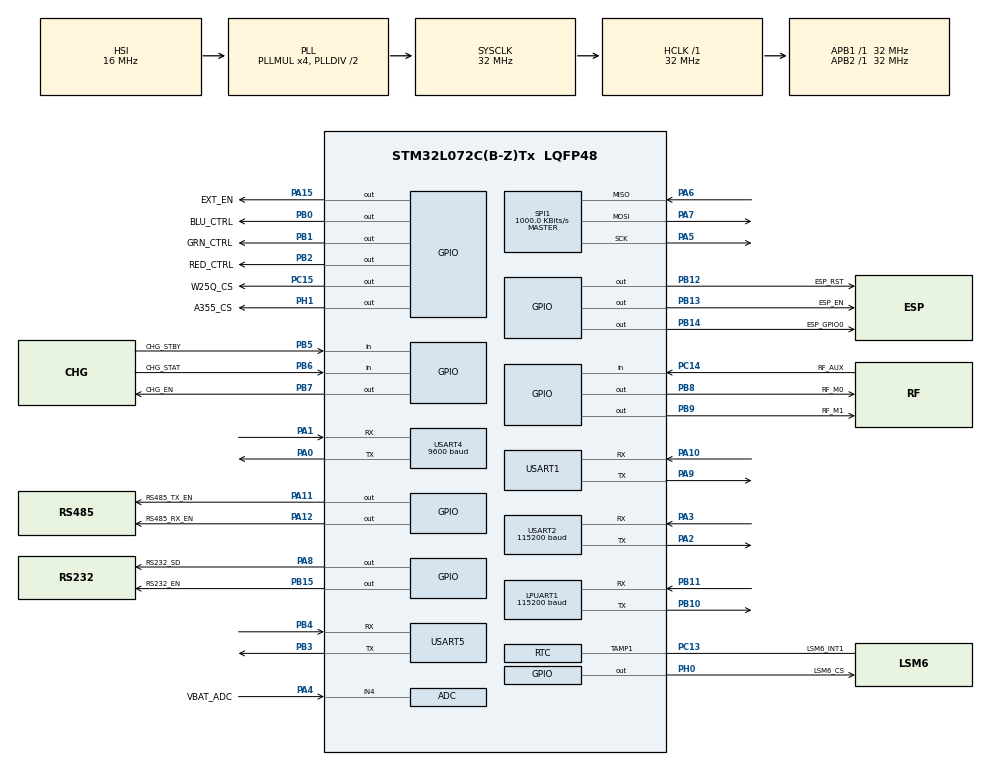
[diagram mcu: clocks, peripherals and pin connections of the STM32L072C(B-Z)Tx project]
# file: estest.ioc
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ADC.SamplingTime=ADC_SAMPLETIME_160CYCLES_5
Dma.LPUART1_RX.1.Direction=DMA_PERIPH_TO_MEMORY
Dma.LPUART1_RX.1.Instance=DMA1_Channel3
Dma.LPUART1_RX.1.MemDataAlignment=DMA_MDATAALIGN_BYTE
Dma.LPUART1_RX.1.MemInc=DMA_MINC_ENABLE
Dma.LPUART1_RX.1.Mode=DMA_NORMAL
Dma.LPUART1_RX.1.PeriphDataAlignment=DMA_PDATAALIGN_BYTE
Dma.LPUART1_RX.1.PeriphInc=DMA_PINC_DISABLE
Dma.LPUART1_RX.1.Priority=DMA_PRIORITY_LOW
Dma.Request0=USART4_RX
Dma.Request1=LPUART1_RX
Dma.Request2=USART2_RX
Dma.Request3=USART5_RX
Dma.USART2_RX.2.Direction=DMA_PERIPH_TO_MEMORY
Dma.USART2_RX.2.Instance=DMA1_Channel5
Dma.USART2_RX.2.MemDataAlignment=DMA_MDATAALIGN_BYTE
Dma.USART2_RX.2.MemInc=DMA_MINC_ENABLE
Dma.USART2_RX.2.Mode=DMA_CIRCULAR
Dma.USART2_RX.2.PeriphDataAlignment=DMA_PDATAALIGN_BYTE
Dma.USART2_RX.2.PeriphInc=DMA_PINC_DISABLE
Dma.USART2_RX.2.Priority=DMA_PRIORITY_LOW
Dma.USART4_RX.0.Direction=DMA_PERIPH_TO_MEMORY
Dma.USART4_RX.0.Instance=DMA1_Channel6
Dma.USART4_RX.0.MemDataAlignment=DMA_MDATAALIGN_BYTE
Dma.USART4_RX.0.MemInc=DMA_MINC_ENABLE
Dma.USART4_RX.0.Mode=DMA_NORMAL
Dma.USART4_RX.0.PeriphDataAlignment=DMA_PDATAALIGN_BYTE
Dma.USART4_RX.0.PeriphInc=DMA_PINC_DISABLE
Dma.USART4_RX.0.Priority=DMA_PRIORITY_LOW
Dma.USART5_RX.3.Direction=DMA_PERIPH_TO_MEMORY
Dma.USART5_RX.3.Instance=DMA1_Channel2
Dma.USART5_RX.3.MemDataAlignment=DMA_MDATAALIGN_BYTE
Dma.USART5_RX.3.MemInc=DMA_MINC_ENABLE
Dma.USART5_RX.3.Mode=DMA_NORMAL
Dma.USART5_RX.3.PeriphDataAlignment=DMA_PDATAALIGN_BYTE
Dma.USART5_RX.3.PeriphInc=DMA_PINC_DISABLE
Dma.USART5_RX.3.Priority=DMA_PRIORITY_LOW
LPUART1.BaudRate=115200
LPUART1.WordLength=UART_WORDLENGTH_8B
Mcu.Family=STM32L0
Mcu.Name=STM32L072C(B-Z)Tx
Mcu.Package=LQFP48
NVIC.DMA1_Channel2_3_IRQn=true\:0\:0\:false\:false\:true\:false\:true\:true
NVIC.DMA1_Channel4_5_6_7_IRQn=true\:0\:0\:false\:false\:true\:false\:true\:true
NVIC.RTC_IRQn=true\:0\:0\:false\:false\:true\:true\:true\:true
NVIC.TIM2_IRQn=true\:0\:0\:false\:false\:true\:true\:true\:true
NVIC.USART2_IRQn=true\:0\:0\:false\:false\:true\:true\:true\:true
NVIC.USART4_5_IRQn=true\:0\:0\:false\:false\:true\:true\:true\:true
PA0.Mode=Asynchronous
PA0.Signal=USART4_TX
PA1.GPIO_PuPd=GPIO_PULLUP
PA1.Mode=Asynchronous
PA1.Signal=USART4_RX
PA10.GPIO_PuPd=GPIO_PULLUP
PA10.Mode=Asynchronous
PA10.Signal=USART1_RX
PA11.GPIO_Label=RS485_TX_EN
PA11.Signal=GPIO_Output
PA12.GPIO_Label=RS485_RX_EN
PA12.GPIO_ModeDefaultOutputPP=GPIO_MODE_OUTPUT_OD
PA12.GPIO_PuPd=GPIO_NOPULL
PA12.PinState=GPIO_PIN_SET
PA12.Signal=GPIO_Output
PA13.Mode=Serial_Wire
PA13.Signal=SYS_SWDIO
PA14.Mode=Serial_Wire
PA14.Signal=SYS_SWCLK
PA15.GPIO_Label=EXT_EN
PA15.GPIO_ModeDefaultOutputPP=GPIO_MODE_OUTPUT_PP
PA15.GPIO_PuPd=GPIO_NOPULL
PA15.PinState=GPIO_PIN_RESET
PA15.Signal=GPIO_Output
PA2.Mode=Asynchronous
PA2.Signal=USART2_TX
PA3.GPIO_PuPd=GPIO_PULLUP
PA3.Mode=Asynchronous
PA3.Signal=USART2_RX
PA4.GPIO_Label=VBAT_ADC
PA4.Mode=IN4
PA4.Signal=ADC_IN4
PA5.Mode=Full_Duplex_Master
PA5.Signal=SPI1_SCK
PA6.Mode=Full_Duplex_Master
PA6.Signal=SPI1_MISO
PA7.Mode=Full_Duplex_Master
PA7.Signal=SPI1_MOSI
PA8.GPIO_Label=RS232_SD
PA8.Signal=GPIO_Output
PA9.Mode=Asynchronous
PA9.Signal=USART1_TX
PB0.GPIO_Label=BLU_CTRL
PB0.GPIO_ModeDefaultOutputPP=GPIO_MODE_OUTPUT_OD
PB0.GPIO_PuPd=GPIO_NOPULL
PB0.PinState=GPIO_PIN_SET
PB0.Signal=GPIO_Output
PB1.GPIO_Label=GRN_CTRL
PB1.GPIO_ModeDefaultOutputPP=GPIO_MODE_OUTPUT_OD
PB1.GPIO_PuPd=GPIO_NOPULL
PB1.PinState=GPIO_PIN_SET
PB1.Signal=GPIO_Output
PB10.Mode=Asynchronous
PB10.Signal=LPUART1_TX
PB11.Mode=Asynchronous
PB11.Signal=LPUART1_RX
PB12.GPIO_Label=ESP_RST
PB12.GPIO_ModeDefaultOutputPP=GPIO_MODE_OUTPUT_OD
PB12.GPIO_PuPd=GPIO_NOPULL
PB12.PinState=GPIO_PIN_SET
PB12.Signal=GPIO_Output
PB13.GPIO_Label=ESP_EN
PB13.Signal=GPIO_Output
PB14.GPIO_Label=ESP_GPIO0
PB14.GPIO_ModeDefaultOutputPP=GPIO_MODE_OUTPUT_OD
PB14.GPIO_PuPd=GPIO_NOPULL
PB14.PinState=GPIO_PIN_SET
PB14.Signal=GPIO_Output
PB15.GPIO_Label=RS232_EN
PB15.GPIO_ModeDefaultOutputPP=GPIO_MODE_OUTPUT_OD
PB15.GPIO_PuPd=GPIO_NOPULL
PB15.PinState=GPIO_PIN_SET
PB15.Signal=GPIO_Output
PB2.GPIO_Label=RED_CTRL
PB2.GPIO_ModeDefaultOutputPP=GPIO_MODE_OUTPUT_OD
PB2.GPIO_PuPd=GPIO_NOPULL
PB2.PinState=GPIO_PIN_SET
PB2.Signal=GPIO_Output
PB3.Mode=Asynchronous
PB3.Signal=USART5_TX
PB4.GPIO_PuPd=GPIO_PULLUP
PB4.Mode=Asynchronous
PB4.Signal=USART5_RX
PB5.GPIO_Label=CHG_STBY
PB5.Signal=GPIO_Input
PB6.GPIO_Label=CHG_STAT
PB6.Signal=GPIO_Input
PB7.GPIO_Label=CHG_EN
PB7.GPIO_ModeDefaultOutputPP=GPIO_MODE_OUTPUT_OD
PB7.GPIO_PuPd=GPIO_NOPULL
PB7.PinState=GPIO_PIN_SET
PB7.Signal=GPIO_Output
PB8.GPIO_Label=RF_M0
PB8.PinState=GPIO_PIN_SET
PB8.Signal=GPIO_Output
PB9.GPIO_Label=RF_M1
PB9.PinState=GPIO_PIN_SET
PB9.Signal=GPIO_Output
PC13.GPIO_Label=LSM6_INT1
PC13.Mode=Tamper 1 enabled
PC13.Signal=RTC_TAMP1
PC14-OSC32_IN.GPIO_Label=RF_AUX
PC14-OSC32_IN.Signal=GPIO_Input
PC15-OSC32_OUT.GPIO_Label=W25Q_CS
PC15-OSC32_OUT.GPIO_ModeDefaultOutputPP=GPIO_MODE_OUTPUT_OD
PC15-OSC32_OUT.GPIO_PuPd=GPIO_NOPULL
PC15-OSC32_OUT.PinState=GPIO_PIN_SET
PC15-OSC32_OUT.Signal=GPIO_Output
PH0-OSC_IN.GPIO_Label=LSM6_CS
PH0-OSC_IN.GPIO_ModeDefaultOutputPP=GPIO_MODE_OUTPUT_OD
PH0-OSC_IN.GPIO_PuPd=GPIO_NOPULL
PH0-OSC_IN.PinState=GPIO_PIN_SET
PH0-OSC_IN.Signal=GPIO_Output
PH1-OSC_OUT.GPIO_Label=A355_CS
PH1-OSC_OUT.GPIO_ModeDefaultOutputPP=GPIO_MODE_OUTPUT_OD
PH1-OSC_OUT.GPIO_PuPd=GPIO_NOPULL
PH1-OSC_OUT.PinState=GPIO_PIN_SET
PH1-OSC_OUT.Signal=GPIO_Output
ProjectManager.HeapSize=0x200
ProjectManager.StackSize=0x400
ProjectManager.TargetToolchain=STM32CubeIDE
RCC.AHBFreq_Value=32000000
RCC.APB1Freq_Value=32000000
RCC.APB1TimFreq_Value=32000000
RCC.APB2Freq_Value=32000000
RCC.APB2TimFreq_Value=32000000
RCC.HCLKFreq_Value=32000000
RCC.HSE_VALUE=8000000
RCC.HSI16_VALUE=16000000
RCC.HSI48_VALUE=48000000
RCC.HSI_VALUE=16000000
RCC.LSE_VALUE=32768
RCC.MSI_VALUE=2097000
RCC.PLLMUL=RCC_PLLMUL_4
RCC.SYSCLKFreq_VALUE=32000000
RCC.SYSCLKSource=RCC_SYSCLKSOURCE_PLLCLK
RCC.VCOOutputFreq_Value=64000000
RTC.WakeUpCounter-WakeUp=23
SPI1.BaudRatePrescaler=SPI_BAUDRATEPRESCALER_32
SPI1.CalculateBaudRate=1000.0 KBits/s
SPI1.Direction=SPI_DIRECTION_2LINES
SPI1.Mode=SPI_MODE_MASTER
SPI1.VirtualType=VM_MASTER
TIM2.Prescaler=32000-1
TIM2.TIM_MasterOutputTrigger=TIM_TRGO_UPDATE
USART1.VirtualMode-Asynchronous=VM_ASYNC
USART2.BaudRate=115200
USART2.VirtualMode-Asynchronous=VM_ASYNC
USART4.BaudRate=9600
USART4.Parity=PARITY_NONE
USART4.VirtualMode-Asynchronous=VM_ASYNC
USART5.VirtualMode-Asynchronous=VM_ASYNC
VP_RTC_VS_RTC_Activate.Mode=RTC_Enabled
VP_RTC_VS_RTC_WakeUp_intern.Mode=WakeUp
VP_TIM2_VS_ClockSourceINT.Mode=Internal
board=custom

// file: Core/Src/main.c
/* USER CODE BEGIN Header */
/**
  ******************************************************************************
  * @file           : main.c
  * @brief          : Main program body
  ******************************************************************************
  * @attention
  *
  * Copyright (c) 2024 STMicroelectronics.
  * All rights reserved.
  *
  * This software is licensed under terms that can be found in the LICENSE file
  * in the root directory of this software component.
  * If no LICENSE file comes with this software, it is provided AS-IS.
  *
  ******************************************************************************
  */
/* USER CODE END Header */
#include "main.h"

/* USER CODE BEGIN Includes */
#include "string.h"
/* USER CODE END Includes */

ADC_HandleTypeDef hadc;

UART_HandleTypeDef hlpuart1;
UART_HandleTypeDef huart1;
UART_HandleTypeDef huart2;
UART_HandleTypeDef huart4;
UART_HandleTypeDef huart5;
DMA_HandleTypeDef hdma_lpuart1_rx;
DMA_HandleTypeDef hdma_usart2_rx;
DMA_HandleTypeDef hdma_usart4_rx;
DMA_HandleTypeDef hdma_usart5_rx;

RTC_HandleTypeDef hrtc;

SPI_HandleTypeDef hspi1;

TIM_HandleTypeDef htim2;

/* USER CODE BEGIN PV */
uint8_t EspBuff[128];
uint8_t PcBuff[128];
uint8_t EspSize = 0;
uint8_t PcSize = 0;
/* USER CODE END PV */

void SystemClock_Config(void);
static void MX_GPIO_Init(void);
static void MX_DMA_Init(void);
static void MX_LPUART1_UART_Init(void);
static void MX_USART1_UART_Init(void);
static void MX_USART2_UART_Init(void);
static void MX_USART4_UART_Init(void);
static void MX_USART5_UART_Init(void);
static void MX_RTC_Init(void);
static void MX_SPI1_Init(void);
static void MX_ADC_Init(void);
static void MX_TIM2_Init(void);

int main(void)
{

  /* MCU Configuration--------------------------------------------------------*/

  /* Reset of all peripherals, Initializes the Flash interface and the Systick. */
  HAL_Init();

  /* Configure the system clock */
  SystemClock_Config();

  /* Initialize all configured peripherals */
  MX_GPIO_Init();
  MX_DMA_Init();
  MX_LPUART1_UART_Init();
  MX_USART1_UART_Init();
  MX_USART2_UART_Init();
  MX_USART4_UART_Init();
  MX_USART5_UART_Init();
  MX_RTC_Init();
  MX_SPI1_Init();
  MX_ADC_Init();
  MX_TIM2_Init();
  /* USER CODE BEGIN 2 */
  HAL_GPIO_WritePin(ESP_EN_GPIO_Port, ESP_EN_Pin, GPIO_PIN_SET);
  HAL_GPIO_WritePin(ESP_RST_GPIO_Port, ESP_RST_Pin, GPIO_PIN_SET);

  HAL_Delay(2000);

  HAL_UARTEx_ReceiveToIdle_DMA(&huart5, PcBuff, sizeof(PcBuff));
  __HAL_DMA_DISABLE_IT(&hdma_usart5_rx, DMA_IT_HT);

  HAL_UARTEx_ReceiveToIdle_DMA(&huart2, EspBuff, sizeof(EspBuff));
  __HAL_DMA_DISABLE_IT(&hdma_usart2_rx, DMA_IT_HT);

  /* USER CODE END 2 */

  /* Infinite loop */
  while (1)
  {

  }
}

void SystemClock_Config(void)
{
  RCC_OscInitTypeDef RCC_OscInitStruct = {0};
  RCC_ClkInitTypeDef RCC_ClkInitStruct = {0};
  RCC_PeriphCLKInitTypeDef PeriphClkInit = {0};

  /** Configure the main internal regulator output voltage
  */
  __HAL_PWR_VOLTAGESCALING_CONFIG(PWR_REGULATOR_VOLTAGE_SCALE1);

  /** Initializes the RCC Oscillators according to the specified parameters
  * in the RCC_OscInitTypeDef structure.
  */
  RCC_OscInitStruct.OscillatorType = RCC_OSCILLATORTYPE_HSI|RCC_OSCILLATORTYPE_LSI;
  RCC_OscInitStruct.HSIState = RCC_HSI_ON;
  RCC_OscInitStruct.HSICalibrationValue = RCC_HSICALIBRATION_DEFAULT;
  RCC_OscInitStruct.LSIState = RCC_LSI_ON;
  RCC_OscInitStruct.PLL.PLLState = RCC_PLL_ON;
  RCC_OscInitStruct.PLL.PLLSource = RCC_PLLSOURCE_HSI;
  RCC_OscInitStruct.PLL.PLLMUL = RCC_PLLMUL_4;
  RCC_OscInitStruct.PLL.PLLDIV = RCC_PLLDIV_2;
  if (HAL_RCC_OscConfig(&RCC_OscInitStruct) != HAL_OK)
  {
    Error_Handler();
  }

  /** Initializes the CPU, AHB and APB buses clocks
  */
  RCC_ClkInitStruct.ClockType = RCC_CLOCKTYPE_HCLK|RCC_CLOCKTYPE_SYSCLK
                              |RCC_CLOCKTYPE_PCLK1|RCC_CLOCKTYPE_PCLK2;
  RCC_ClkInitStruct.SYSCLKSource = RCC_SYSCLKSOURCE_PLLCLK;
  RCC_ClkInitStruct.AHBCLKDivider = RCC_SYSCLK_DIV1;
  RCC_ClkInitStruct.APB1CLKDivider = RCC_HCLK_DIV1;
  RCC_ClkInitStruct.APB2CLKDivider = RCC_HCLK_DIV1;

  if (HAL_RCC_ClockConfig(&RCC_ClkInitStruct, FLASH_LATENCY_1) != HAL_OK)
  {
    Error_Handler();
  }
  PeriphClkInit.PeriphClockSelection = RCC_PERIPHCLK_USART1|RCC_PERIPHCLK_USART2
                              |RCC_PERIPHCLK_LPUART1|RCC_PERIPHCLK_RTC;
  PeriphClkInit.Usart1ClockSelection = RCC_USART1CLKSOURCE_PCLK2;
  PeriphClkInit.Usart2ClockSelection = RCC_USART2CLKSOURCE_PCLK1;
  PeriphClkInit.Lpuart1ClockSelection = RCC_LPUART1CLKSOURCE_PCLK1;
  PeriphClkInit.RTCClockSelection = RCC_RTCCLKSOURCE_LSI;
  if (HAL_RCCEx_PeriphCLKConfig(&PeriphClkInit) != HAL_OK)
  {
    Error_Handler();
  }
}

static void MX_ADC_Init(void)
{

  ADC_ChannelConfTypeDef sConfig = {0};

  /** Configure the global features of the ADC (Clock, Resolution, Data Alignment and number of conversion)
  */
  hadc.Instance = ADC1;
  hadc.Init.OversamplingMode = DISABLE;
  hadc.Init.ClockPrescaler = ADC_CLOCK_SYNC_PCLK_DIV2;
  hadc.Init.Resolution = ADC_RESOLUTION_12B;
  hadc.Init.SamplingTime = ADC_SAMPLETIME_160CYCLES_5;
  hadc.Init.ScanConvMode = ADC_SCAN_DIRECTION_FORWARD;
  hadc.Init.DataAlign = ADC_DATAALIGN_RIGHT;
  hadc.Init.ContinuousConvMode = DISABLE;
  hadc.Init.DiscontinuousConvMode = DISABLE;
  hadc.Init.ExternalTrigConvEdge = ADC_EXTERNALTRIGCONVEDGE_NONE;
  hadc.Init.ExternalTrigConv = ADC_SOFTWARE_START;
  hadc.Init.DMAContinuousRequests = DISABLE;
  hadc.Init.EOCSelection = ADC_EOC_SINGLE_CONV;
  hadc.Init.Overrun = ADC_OVR_DATA_PRESERVED;
  hadc.Init.LowPowerAutoWait = DISABLE;
  hadc.Init.LowPowerFrequencyMode = DISABLE;
  hadc.Init.LowPowerAutoPowerOff = DISABLE;
  if (HAL_ADC_Init(&hadc) != HAL_OK)
  {
    Error_Handler();
  }

  /** Configure for the selected ADC regular channel to be converted.
  */
  sConfig.Channel = ADC_CHANNEL_4;
  sConfig.Rank = ADC_RANK_CHANNEL_NUMBER;
  if (HAL_ADC_ConfigChannel(&hadc, &sConfig) != HAL_OK)
  {
    Error_Handler();
  }

}

static void MX_LPUART1_UART_Init(void)
{

  hlpuart1.Instance = LPUART1;
  hlpuart1.Init.BaudRate = 115200;
  hlpuart1.Init.WordLength = UART_WORDLENGTH_8B;
  hlpuart1.Init.StopBits = UART_STOPBITS_1;
  hlpuart1.Init.Parity = UART_PARITY_NONE;
  hlpuart1.Init.Mode = UART_MODE_TX_RX;
  hlpuart1.Init.HwFlowCtl = UART_HWCONTROL_NONE;
  hlpuart1.Init.OneBitSampling = UART_ONE_BIT_SAMPLE_DISABLE;
  hlpuart1.AdvancedInit.AdvFeatureInit = UART_ADVFEATURE_NO_INIT;
  if (HAL_UART_Init(&hlpuart1) != HAL_OK)
  {
    Error_Handler();
  }

}

static void MX_USART1_UART_Init(void)
{

  huart1.Instance = USART1;
  huart1.Init.BaudRate = 115200;
  huart1.Init.WordLength = UART_WORDLENGTH_8B;
  huart1.Init.StopBits = UART_STOPBITS_1;
  huart1.Init.Parity = UART_PARITY_NONE;
  huart1.Init.Mode = UART_MODE_TX_RX;
  huart1.Init.HwFlowCtl = UART_HWCONTROL_NONE;
  huart1.Init.OverSampling = UART_OVERSAMPLING_16;
  huart1.Init.OneBitSampling = UART_ONE_BIT_SAMPLE_DISABLE;
  huart1.AdvancedInit.AdvFeatureInit = UART_ADVFEATURE_NO_INIT;
  if (HAL_UART_Init(&huart1) != HAL_OK)
  {
    Error_Handler();
  }

}

static void MX_USART2_UART_Init(void)
{

  huart2.Instance = USART2;
  huart2.Init.BaudRate = 115200;
  huart2.Init.WordLength = UART_WORDLENGTH_8B;
  huart2.Init.StopBits = UART_STOPBITS_1;
  huart2.Init.Parity = UART_PARITY_NONE;
  huart2.Init.Mode = UART_MODE_TX_RX;
  huart2.Init.HwFlowCtl = UART_HWCONTROL_NONE;
  huart2.Init.OverSampling = UART_OVERSAMPLING_16;
  huart2.Init.OneBitSampling = UART_ONE_BIT_SAMPLE_DISABLE;
  huart2.AdvancedInit.AdvFeatureInit = UART_ADVFEATURE_NO_INIT;
  if (HAL_UART_Init(&huart2) != HAL_OK)
  {
    Error_Handler();
  }

}

static void MX_USART4_UART_Init(void)
{

  huart4.Instance = USART4;
  huart4.Init.BaudRate = 9600;
  huart4.Init.WordLength = UART_WORDLENGTH_8B;
  huart4.Init.StopBits = UART_STOPBITS_1;
  huart4.Init.Parity = UART_PARITY_NONE;
  huart4.Init.Mode = UART_MODE_TX_RX;
  huart4.Init.HwFlowCtl = UART_HWCONTROL_NONE;
  huart4.Init.OverSampling = UART_OVERSAMPLING_16;
  huart4.Init.OneBitSampling = UART_ONE_BIT_SAMPLE_DISABLE;
  huart4.AdvancedInit.AdvFeatureInit = UART_ADVFEATURE_NO_INIT;
  if (HAL_UART_Init(&huart4) != HAL_OK)
  {
    Error_Handler();
  }

}

static void MX_USART5_UART_Init(void)
{

  huart5.Instance = USART5;
  huart5.Init.BaudRate = 115200;
  huart5.Init.WordLength = UART_WORDLENGTH_8B;
  huart5.Init.StopBits = UART_STOPBITS_1;
  huart5.Init.Parity = UART_PARITY_NONE;
  huart5.Init.Mode = UART_MODE_TX_RX;
  huart5.Init.HwFlowCtl = UART_HWCONTROL_NONE;
  huart5.Init.OverSampling = UART_OVERSAMPLING_16;
  huart5.Init.OneBitSampling = UART_ONE_BIT_SAMPLE_DISABLE;
  huart5.AdvancedInit.AdvFeatureInit = UART_ADVFEATURE_NO_INIT;
  if (HAL_UART_Init(&huart5) != HAL_OK)
  {
    Error_Handler();
  }

}

static void MX_RTC_Init(void)
{

  RTC_TamperTypeDef sTamper = {0};

  /** Initialize RTC Only
  */
  hrtc.Instance = RTC;
  hrtc.Init.HourFormat = RTC_HOURFORMAT_24;
  hrtc.Init.AsynchPrediv = 127;
  hrtc.Init.SynchPrediv = 255;
  hrtc.Init.OutPut = RTC_OUTPUT_DISABLE;
  hrtc.Init.OutPutRemap = RTC_OUTPUT_REMAP_NONE;
  hrtc.Init.OutPutPolarity = RTC_OUTPUT_POLARITY_HIGH;
  hrtc.Init.OutPutType = RTC_OUTPUT_TYPE_OPENDRAIN;
  if (HAL_RTC_Init(&hrtc) != HAL_OK)
  {
    Error_Handler();
  }

  /** Enable the WakeUp
  */
  if (HAL_RTCEx_SetWakeUpTimer_IT(&hrtc, 23, RTC_WAKEUPCLOCK_RTCCLK_DIV16) != HAL_OK)
  {
    Error_Handler();
  }

  /** Enable the RTC Tamper 1
  */
  sTamper.Tamper = RTC_TAMPER_1;
  sTamper.Interrupt = RTC_TAMPER1_INTERRUPT;
  sTamper.Trigger = RTC_TAMPERTRIGGER_RISINGEDGE;
  sTamper.NoErase = RTC_TAMPER_ERASE_BACKUP_ENABLE;
  sTamper.MaskFlag = RTC_TAMPERMASK_FLAG_DISABLE;
  sTamper.Filter = RTC_TAMPERFILTER_DISABLE;
  sTamper.SamplingFrequency = RTC_TAMPERSAMPLINGFREQ_RTCCLK_DIV32768;
  sTamper.PrechargeDuration = RTC_TAMPERPRECHARGEDURATION_1RTCCLK;
  sTamper.TamperPullUp = RTC_TAMPER_PULLUP_ENABLE;
  sTamper.TimeStampOnTamperDetection = RTC_TIMESTAMPONTAMPERDETECTION_ENABLE;
  if (HAL_RTCEx_SetTamper_IT(&hrtc, &sTamper) != HAL_OK)
  {
    Error_Handler();
  }

}

static void MX_SPI1_Init(void)
{

  /* SPI1 parameter configuration*/
  hspi1.Instance = SPI1;
  hspi1.Init.Mode = SPI_MODE_MASTER;
  hspi1.Init.Direction = SPI_DIRECTION_2LINES;
  hspi1.Init.DataSize = SPI_DATASIZE_8BIT;
  hspi1.Init.CLKPolarity = SPI_POLARITY_LOW;
  hspi1.Init.CLKPhase = SPI_PHASE_1EDGE;
  hspi1.Init.NSS = SPI_NSS_SOFT;
  hspi1.Init.BaudRatePrescaler = SPI_BAUDRATEPRESCALER_32;
  hspi1.Init.FirstBit = SPI_FIRSTBIT_MSB;
  hspi1.Init.TIMode = SPI_TIMODE_DISABLE;
  hspi1.Init.CRCCalculation = SPI_CRCCALCULATION_DISABLE;
  hspi1.Init.CRCPolynomial = 7;
  if (HAL_SPI_Init(&hspi1) != HAL_OK)
  {
    Error_Handler();
  }

}

static void MX_TIM2_Init(void)
{

  TIM_ClockConfigTypeDef sClockSourceConfig = {0};
  TIM_MasterConfigTypeDef sMasterConfig = {0};

  htim2.Instance = TIM2;
  htim2.Init.Prescaler = 32000-1;
  htim2.Init.CounterMode = TIM_COUNTERMODE_UP;
  htim2.Init.Period = 65535;
  htim2.Init.ClockDivision = TIM_CLOCKDIVISION_DIV1;
  htim2.Init.AutoReloadPreload = TIM_AUTORELOAD_PRELOAD_DISABLE;
  if (HAL_TIM_Base_Init(&htim2) != HAL_OK)
  {
    Error_Handler();
  }
  sClockSourceConfig.ClockSource = TIM_CLOCKSOURCE_INTERNAL;
  if (HAL_TIM_ConfigClockSource(&htim2, &sClockSourceConfig) != HAL_OK)
  {
    Error_Handler();
  }
  sMasterConfig.MasterOutputTrigger = TIM_TRGO_UPDATE;
  sMasterConfig.MasterSlaveMode = TIM_MASTERSLAVEMODE_DISABLE;
  if (HAL_TIMEx_MasterConfigSynchronization(&htim2, &sMasterConfig) != HAL_OK)
  {
    Error_Handler();
  }

}

static void MX_DMA_Init(void)
{

  /* DMA controller clock enable */
  __HAL_RCC_DMA1_CLK_ENABLE();

  /* DMA interrupt init */
  /* DMA1_Channel2_3_IRQn interrupt configuration */
  HAL_NVIC_SetPriority(DMA1_Channel2_3_IRQn, 0, 0);
  HAL_NVIC_EnableIRQ(DMA1_Channel2_3_IRQn);
  /* DMA1_Channel4_5_6_7_IRQn interrupt configuration */
  HAL_NVIC_SetPriority(DMA1_Channel4_5_6_7_IRQn, 0, 0);
  HAL_NVIC_EnableIRQ(DMA1_Channel4_5_6_7_IRQn);

}

static void MX_GPIO_Init(void)
{
  GPIO_InitTypeDef GPIO_InitStruct = {0};

  /* GPIO Ports Clock Enable */
  __HAL_RCC_GPIOC_CLK_ENABLE();
  __HAL_RCC_GPIOH_CLK_ENABLE();
  __HAL_RCC_GPIOA_CLK_ENABLE();
  __HAL_RCC_GPIOB_CLK_ENABLE();

  /*Configure GPIO pin Output Level */
  HAL_GPIO_WritePin(W25Q_CS_GPIO_Port, W25Q_CS_Pin, GPIO_PIN_SET);

  /*Configure GPIO pin Output Level */
  HAL_GPIO_WritePin(GPIOH, LSM6_CS_Pin|A355_CS_Pin, GPIO_PIN_SET);

  /*Configure GPIO pin Output Level */
  HAL_GPIO_WritePin(GPIOB, BLU_CTRL_Pin|GRN_CTRL_Pin|RED_CTRL_Pin|ESP_RST_Pin
                          |ESP_GPIO0_Pin|RS232_EN_Pin|CHG_EN_Pin|RF_M0_Pin
                          |RF_M1_Pin, GPIO_PIN_SET);

  /*Configure GPIO pin Output Level */
  HAL_GPIO_WritePin(ESP_EN_GPIO_Port, ESP_EN_Pin, GPIO_PIN_RESET);

  /*Configure GPIO pin Output Level */
  HAL_GPIO_WritePin(GPIOA, RS232_SD_Pin|RS485_TX_EN_Pin|EXT_EN_Pin, GPIO_PIN_RESET);

  /*Configure GPIO pin Output Level */
  HAL_GPIO_WritePin(RS485_RX_EN_GPIO_Port, RS485_RX_EN_Pin, GPIO_PIN_SET);

  /*Configure GPIO pin : RF_AUX_Pin */
  GPIO_InitStruct.Pin = RF_AUX_Pin;
  GPIO_InitStruct.Mode = GPIO_MODE_INPUT;
  GPIO_InitStruct.Pull = GPIO_NOPULL;
  HAL_GPIO_Init(RF_AUX_GPIO_Port, &GPIO_InitStruct);

  /*Configure GPIO pin : W25Q_CS_Pin */
  GPIO_InitStruct.Pin = W25Q_CS_Pin;
  GPIO_InitStruct.Mode = GPIO_MODE_OUTPUT_OD;
  GPIO_InitStruct.Pull = GPIO_NOPULL;
  GPIO_InitStruct.Speed = GPIO_SPEED_FREQ_LOW;
  HAL_GPIO_Init(W25Q_CS_GPIO_Port, &GPIO_InitStruct);

  /*Configure GPIO pins : LSM6_CS_Pin A355_CS_Pin */
  GPIO_InitStruct.Pin = LSM6_CS_Pin|A355_CS_Pin;
  GPIO_InitStruct.Mode = GPIO_MODE_OUTPUT_OD;
  GPIO_InitStruct.Pull = GPIO_NOPULL;
  GPIO_InitStruct.Speed = GPIO_SPEED_FREQ_LOW;
  HAL_GPIO_Init(GPIOH, &GPIO_InitStruct);

  /*Configure GPIO pins : BLU_CTRL_Pin GRN_CTRL_Pin RED_CTRL_Pin ESP_RST_Pin
                           ESP_GPIO0_Pin RS232_EN_Pin CHG_EN_Pin */
  GPIO_InitStruct.Pin = BLU_CTRL_Pin|GRN_CTRL_Pin|RED_CTRL_Pin|ESP_RST_Pin
                          |ESP_GPIO0_Pin|RS232_EN_Pin|CHG_EN_Pin;
  GPIO_InitStruct.Mode = GPIO_MODE_OUTPUT_OD;
  GPIO_InitStruct.Pull = GPIO_NOPULL;
  GPIO_InitStruct.Speed = GPIO_SPEED_FREQ_LOW;
  HAL_GPIO_Init(GPIOB, &GPIO_InitStruct);

  /*Configure GPIO pins : ESP_EN_Pin RF_M0_Pin RF_M1_Pin */
  GPIO_InitStruct.Pin = ESP_EN_Pin|RF_M0_Pin|RF_M1_Pin;
  GPIO_InitStruct.Mode = GPIO_MODE_OUTPUT_PP;
  GPIO_InitStruct.Pull = GPIO_NOPULL;
  GPIO_InitStruct.Speed = GPIO_SPEED_FREQ_LOW;
  HAL_GPIO_Init(GPIOB, &GPIO_InitStruct);

  /*Configure GPIO pins : RS232_SD_Pin RS485_TX_EN_Pin EXT_EN_Pin */
  GPIO_InitStruct.Pin = RS232_SD_Pin|RS485_TX_EN_Pin|EXT_EN_Pin;
  GPIO_InitStruct.Mode = GPIO_MODE_OUTPUT_PP;
  GPIO_InitStruct.Pull = GPIO_NOPULL;
  GPIO_InitStruct.Speed = GPIO_SPEED_FREQ_LOW;
  HAL_GPIO_Init(GPIOA, &GPIO_InitStruct);

  /*Configure GPIO pin : RS485_RX_EN_Pin */
  GPIO_InitStruct.Pin = RS485_RX_EN_Pin;
  GPIO_InitStruct.Mode = GPIO_MODE_OUTPUT_OD;
  GPIO_InitStruct.Pull = GPIO_NOPULL;
  GPIO_InitStruct.Speed = GPIO_SPEED_FREQ_LOW;
  HAL_GPIO_Init(RS485_RX_EN_GPIO_Port, &GPIO_InitStruct);

  /*Configure GPIO pins : CHG_STBY_Pin CHG_STAT_Pin */
  GPIO_InitStruct.Pin = CHG_STBY_Pin|CHG_STAT_Pin;
  GPIO_InitStruct.Mode = GPIO_MODE_INPUT;
  GPIO_InitStruct.Pull = GPIO_NOPULL;
  HAL_GPIO_Init(GPIOB, &GPIO_InitStruct);

}

/* USER CODE BEGIN 4 */
void HAL_UARTEx_RxEventCallback(UART_HandleTypeDef *huart, uint16_t Size)
{
    if (huart->Instance == USART2)
    {
    	memset(EspBuff, 0, sizeof(EspBuff));
    	HAL_UARTEx_ReceiveToIdle_DMA(&huart2, EspBuff, sizeof(EspBuff));
    	__HAL_DMA_DISABLE_IT(&hdma_usart2_rx, DMA_IT_HT);
    }
    else if (huart->Instance == USART5) {
		memset(PcBuff, 0, sizeof(PcBuff));
		HAL_UARTEx_ReceiveToIdle_DMA(&huart5, PcBuff, sizeof(PcBuff));
		__HAL_DMA_DISABLE_IT(&hdma_usart5_rx, DMA_IT_HT);
    }
}
/* USER CODE END 4 */

void Error_Handler(void)
{
  __disable_irq();
  while (1)
  {
  }
}
